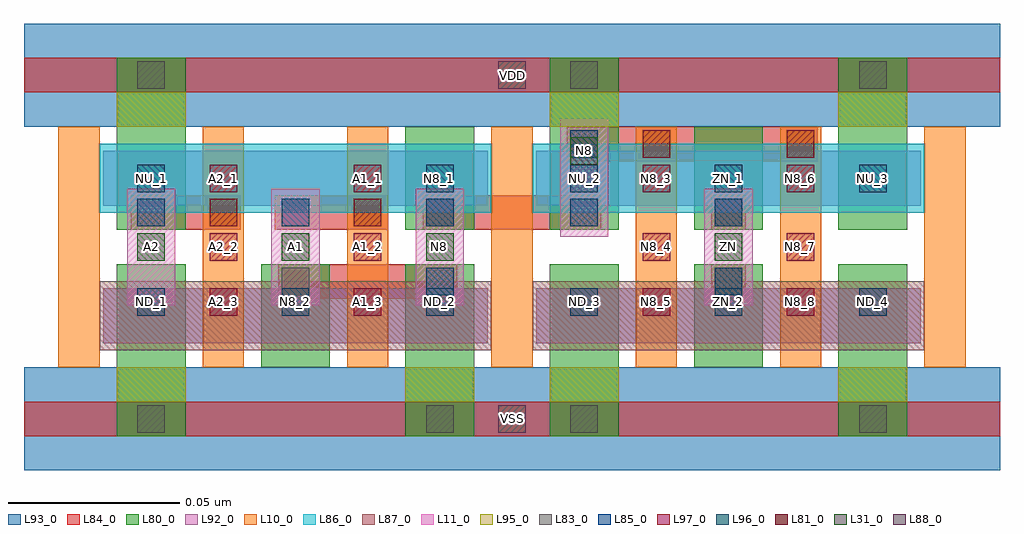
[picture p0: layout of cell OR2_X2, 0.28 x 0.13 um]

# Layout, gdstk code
import gdstk
lib = gdstk.Library(unit=1e-6, precision=1e-09)
def R(c, l, rs):  # rectangles x0, y0, x1, y1
    for r in rs: c.add(gdstk.rectangle(r[:2], r[2:], *l))
def A(c, l, x, y, w, h, nx, ny, dx, dy):  # array of equal rectangles
    R(c, l, [(x+i*dx, y+j*dy, x+i*dx+w, y+j*dy+h) for i in range(nx) for j in range(ny)])
L10_0 = (10, 0)
L11_0 = (11, 0)
L31_0 = (31, 0)
L80_0 = (80, 0)
L81_0 = (81, 0)
L83_0 = (83, 0)
L84_0 = (84, 0)
L85_0 = (85, 0)
L86_0 = (86, 0)
L87_0 = (87, 0)
L88_0 = (88, 0)
L92_0 = (92, 0)
L93_0 = (93, 0)
L95_0 = (95, 0)
L96_0 = (96, 0)
L97_0 = (97, 0)

or2_x2 = lib.new_cell('OR2_X2')
A(or2_x2, L10_0, -0.027, 0.015, 0.012, 0.07, 7, 1, 0.042, 0)
A(or2_x2, L11_0, -0.007, 0.033, 0.014, 0.034, 3, 1, 0.042, 0)
R(or2_x2, L11_0, [(0.077,0.033,0.091,0.067), (0.161,0.033,0.175,0.067), (0.161,0.033,0.175,0.067), (0.119,0.053,0.133,0.087), (0.119,0.053,0.133,0.087)])
A(or2_x2, L31_0, -0.004, 0.046, 0.008, 0.008, 3, 1, 0.042, 0)
R(or2_x2, L31_0, [(0.164,0.046,0.172,0.054), (0.122,0.074,0.13,0.082)])
A(or2_x2, L80_0, -0.01, 0.015, 0.02, 0.03, 6, 1, 0.042, 0)
A(or2_x2, L80_0, 0.074, 0.055, 0.02, 0.03, 4, 1, 0.042, 0)
R(or2_x2, L80_0, [(-0.01,-0.005,0.01,0.025), (0.074,-0.005,0.094,0.025), (0.116,-0.005,0.136,0.025), (0.2,-0.005,0.22,0.025), (-0.01,0.055,0.01,0.085), (-0.01,0.075,0.01,0.105), (0.116,0.075,0.136,0.105), (0.2,0.075,0.22,0.105)])
R(or2_x2, L81_0, [(0.017,0.056,0.025,0.064), (0.059,0.056,0.067,0.064), (0.143,0.076,0.151,0.084), (0.143,0.076,0.151,0.084), (0.185,0.076,0.193,0.084), (0.185,0.076,0.193,0.084)])
R(or2_x2, L83_0, [(-0.004,-0.004,0.004,0.004), (0.08,-0.004,0.088,0.004), (0.122,-0.004,0.13,0.004), (0.206,-0.004,0.214,0.004), (0.038,0.036,0.046,0.044), (0.038,0.036,0.046,0.044), (0.164,0.036,0.172,0.044), (0.164,0.036,0.172,0.044), (0.08,0.056,0.088,0.064), (0.08,0.056,0.088,0.064), (0.164,0.056,0.172,0.064), (0.164,0.056,0.172,0.064), (-0.004,0.096,0.004,0.104), (0.122,0.096,0.13,0.104), (0.206,0.096,0.214,0.104)])
R(or2_x2, L84_0, [(-0.037,-0.005,0.247,0.005), (0.037,0.035,0.068,0.045), (0.037,0.035,0.068,0.045), (0.058,0.035,0.089,0.045), (0.058,0.035,0.089,0.045), (0.163,0.035,0.173,0.045), (0.163,0.035,0.173,0.045), (-0.006,0.055,0.026,0.065), (0.036,0.055,0.069,0.065), (0.079,0.055,0.11,0.065), (0.079,0.055,0.11,0.065), (0.1,0.055,0.131,0.065), (0.1,0.055,0.131,0.065), (0.163,0.055,0.173,0.065), (0.163,0.055,0.173,0.065), (0.121,0.075,0.152,0.085), (0.121,0.075,0.152,0.085), (0.142,0.075,0.173,0.085), (0.142,0.075,0.173,0.085), (0.163,0.075,0.194,0.085), (0.163,0.075,0.194,0.085), (-0.037,0.095,0.247,0.105)])
A(or2_x2, L85_0, -0.004, 0.056, 0.008, 0.008, 3, 1, 0.042, 0)
R(or2_x2, L85_0, [(0.08,0.036,0.088,0.044), (0.08,0.036,0.088,0.044), (0.164,0.036,0.172,0.044), (0.164,0.036,0.172,0.044), (0.08,0.056,0.088,0.064), (0.122,0.056,0.13,0.064), (0.122,0.056,0.13,0.064), (0.164,0.056,0.172,0.064), (0.164,0.056,0.172,0.064), (0.122,0.076,0.13,0.084), (0.122,0.076,0.13,0.084)])
R(or2_x2, L86_0, [(-0.015,0.06,0.099,0.08), (0.111,0.06,0.225,0.08)])
R(or2_x2, L87_0, [(-0.015,0.02,0.099,0.04), (0.111,0.02,0.225,0.04)])
R(or2_x2, L88_0, [(0.101,-0.004,0.109,0.004), (0.101,0.096,0.109,0.104)])
R(or2_x2, L92_0, [(-0.014,0.022,0.098,0.038), (0.112,0.022,0.224,0.038), (-0.014,0.062,0.098,0.078), (0.112,0.062,0.224,0.078)])
R(or2_x2, L93_0, [(-0.037,-0.015,0.247,0.015), (-0.037,0.085,0.247,0.115)])
R(or2_x2, L95_0, [(-0.01,0.005,0.01,0.015), (0.074,0.005,0.094,0.015), (0.116,0.005,0.136,0.015), (0.2,0.005,0.22,0.015), (-0.01,0.085,0.01,0.095), (0.116,0.085,0.136,0.095), (0.2,0.085,0.22,0.095)])
A(or2_x2, L96_0, -0.004, 0.03, 0.008, 0.008, 6, 1, 0.042, 0)
A(or2_x2, L96_0, 0.08, 0.066, 0.008, 0.008, 4, 1, 0.042, 0)
R(or2_x2, L96_0, [(-0.004,0.066,0.004,0.074)])
R(or2_x2, L97_0, [(0.017,0.03,0.025,0.038), (0.059,0.03,0.067,0.038), (0.143,0.03,0.151,0.038), (0.185,0.03,0.193,0.038), (0.017,0.046,0.025,0.054), (0.059,0.046,0.067,0.054), (0.143,0.046,0.151,0.054), (0.185,0.046,0.193,0.054), (0.017,0.066,0.025,0.074), (0.059,0.066,0.067,0.074), (0.143,0.066,0.151,0.074), (0.185,0.066,0.193,0.074)])
or2_x2.add(gdstk.Label('A2_3', (0.021,0.034), layer=97, texttype=0))
or2_x2.add(gdstk.Label('A2_2', (0.021,0.05), layer=97, texttype=0))
or2_x2.add(gdstk.Label('A2_1', (0.021,0.07), layer=97, texttype=0))
or2_x2.add(gdstk.Label('A1_1', (0.063,0.07), layer=97, texttype=0))
or2_x2.add(gdstk.Label('A1_2', (0.063,0.05), layer=97, texttype=0))
or2_x2.add(gdstk.Label('A1_3', (0.063,0.034), layer=97, texttype=0))
or2_x2.add(gdstk.Label('N8_3', (0.147,0.07), layer=97, texttype=0))
or2_x2.add(gdstk.Label('N8_4', (0.147,0.05), layer=97, texttype=0))
or2_x2.add(gdstk.Label('N8_5', (0.147,0.034), layer=97, texttype=0))
or2_x2.add(gdstk.Label('N8_8', (0.189,0.034), layer=97, texttype=0))
or2_x2.add(gdstk.Label('N8_7', (0.189,0.05), layer=97, texttype=0))
or2_x2.add(gdstk.Label('N8_6', (0.189,0.07), layer=97, texttype=0))
or2_x2.add(gdstk.Label('ND_1', (0,0.034), layer=96, texttype=0))
or2_x2.add(gdstk.Label('NU_1', (0,0.07), layer=96, texttype=0))
or2_x2.add(gdstk.Label('ND_2', (0.084,0.034), layer=96, texttype=0))
or2_x2.add(gdstk.Label('N8_1', (0.084,0.07), layer=96, texttype=0))
or2_x2.add(gdstk.Label('NU_2', (0.126,0.07), layer=96, texttype=0))
or2_x2.add(gdstk.Label('ND_3', (0.126,0.034), layer=96, texttype=0))
or2_x2.add(gdstk.Label('ZN_1', (0.168,0.07), layer=96, texttype=0))
or2_x2.add(gdstk.Label('ZN_2', (0.168,0.034), layer=96, texttype=0))
or2_x2.add(gdstk.Label('ND_4', (0.21,0.034), layer=96, texttype=0))
or2_x2.add(gdstk.Label('NU_3', (0.21,0.07), layer=96, texttype=0))
or2_x2.add(gdstk.Label('N8_2', (0.042,0.034), layer=96, texttype=0))
or2_x2.add(gdstk.Label('VSS', (0.105,0), layer=88, texttype=0))
or2_x2.add(gdstk.Label('VDD', (0.105,0.1), layer=88, texttype=0))
or2_x2.add(gdstk.Label('N8', (0.084,0.05), layer=31, texttype=0))
or2_x2.add(gdstk.Label('ZN', (0.168,0.05), layer=31, texttype=0))
or2_x2.add(gdstk.Label('N8', (0.126,0.078), layer=31, texttype=0))
or2_x2.add(gdstk.Label('A1', (0.042,0.05), layer=31, texttype=0))
or2_x2.add(gdstk.Label('A2', (0,0.05), layer=31, texttype=0))

lib.write_gds('OR2_X2.gds')
